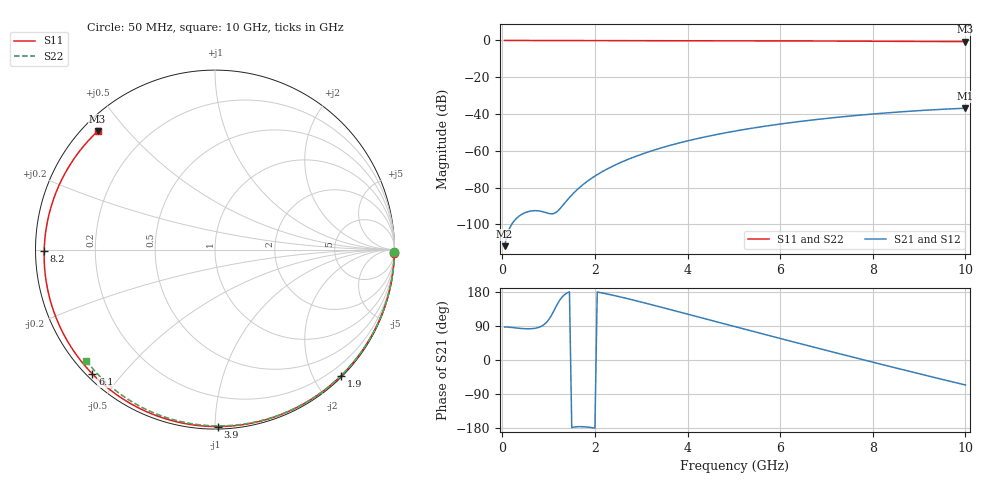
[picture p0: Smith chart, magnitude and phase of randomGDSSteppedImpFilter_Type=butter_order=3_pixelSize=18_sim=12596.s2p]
! freq	dB(S11)	phase(S11)	dB(S12)	phase(S12)
!  dB(S21)	phase(S21)	dB(S22)	phase(S22)
!S-par simulation data
#  GHz  S  DB  R 50
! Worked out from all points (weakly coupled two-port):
!   200 points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, 50 MHz to 10 GHz, reference 50 ohm
!   highest |S21| = -36.85 dB at 10 GHz (marker M1); lowest = -111.9 dB at 50 MHz (marker M2)
!   lowest |S11| = -0.6 dB at 10 GHz (marker M3), VSWR 27.03, Z = 2.17 + j20.8 ohm
!   |S11| at or under -10 dB: nowhere
!   |S22| runs from -0.5 to 0.0 dB; largest |S21 - S12| = 0
!   S11 on the Smith chart (normalised r, x): 50 MHz: 2, -93; 1.9 GHz: 0.02, -2.41; 3.9 GHz: 0.01, -1.01; 6.1 GHz: 0.02, -0.42; 8.2 GHz: 0.02, -0.00; 10 GHz: 0.04, +0.42
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0.05  -0.00 -1.2  -111.85 86.9  -111.85 86.9  -0.00 -0.8
0.8  -0.02 -19.2  -92.72 86.6  -92.72 86.6  -0.02 -12.9
1.65  -0.05 -39.2  -80.35 -175.9  -80.35 -175.9  -0.03 -26.3
1.75  -0.05 -41.5  -78.22 -176.1  -78.22 -176.1  -0.04 -27.8
1.9  -0.06 -45.0  -75.41 -177.9  -75.41 -177.9  -0.04 -30.2
2.2  -0.07 -51.9  -70.76 175.9  -70.76 175.9  -0.04 -34.8
2.55  -0.08 -59.8  -66.42 166.4  -66.42 166.4  -0.05 -40.2
2.95  -0.09 -68.6  -62.38 154.5  -62.38 154.5  -0.06 -46.2
3.4  -0.10 -78.5  -58.65 140.3  -58.65 140.3  -0.07 -52.9
3.9  -0.12 -89.2  -55.21 124.3  -55.21 124.3  -0.08 -60.3
4.45  -0.14 -100.7  -52.05 106.6  -52.05 106.6  -0.10 -68.1
5.05  -0.17 -113.1  -49.16 87.2  -49.16 87.2  -0.12 -76.5
5.55  -0.20 -123.3  -47.09 71.2  -47.09 71.2  -0.14 -83.3
6.1  -0.24 -134.6  -45.11 53.7  -45.11 53.7  -0.16 -90.7
6.7  -0.28 -146.9  -43.23 34.7  -43.23 34.7  -0.19 -98.5
7.45  -0.35 -162.8  -41.24 11.3  -41.24 11.3  -0.24 -108.0
8.2  -0.43 -179.4  -39.58 -11.9  -39.58 -11.9  -0.29 -117.3
8.35  -0.44 177.1  -39.29 -16.5  -39.29 -16.5  -0.31 -119.2
8.8  -0.50 166.4  -38.48 -30.2  -38.48 -30.2  -0.34 -124.7
9.2  -0.54 156.4  -37.84 -42.2  -37.84 -42.2  -0.38 -129.5
9.6  -0.59 145.9  -37.30 -54.2  -37.30 -54.2  -0.43 -134.4
10  -0.64 134.8  -36.85 -65.9  -36.85 -65.9  -0.47 -139.2
